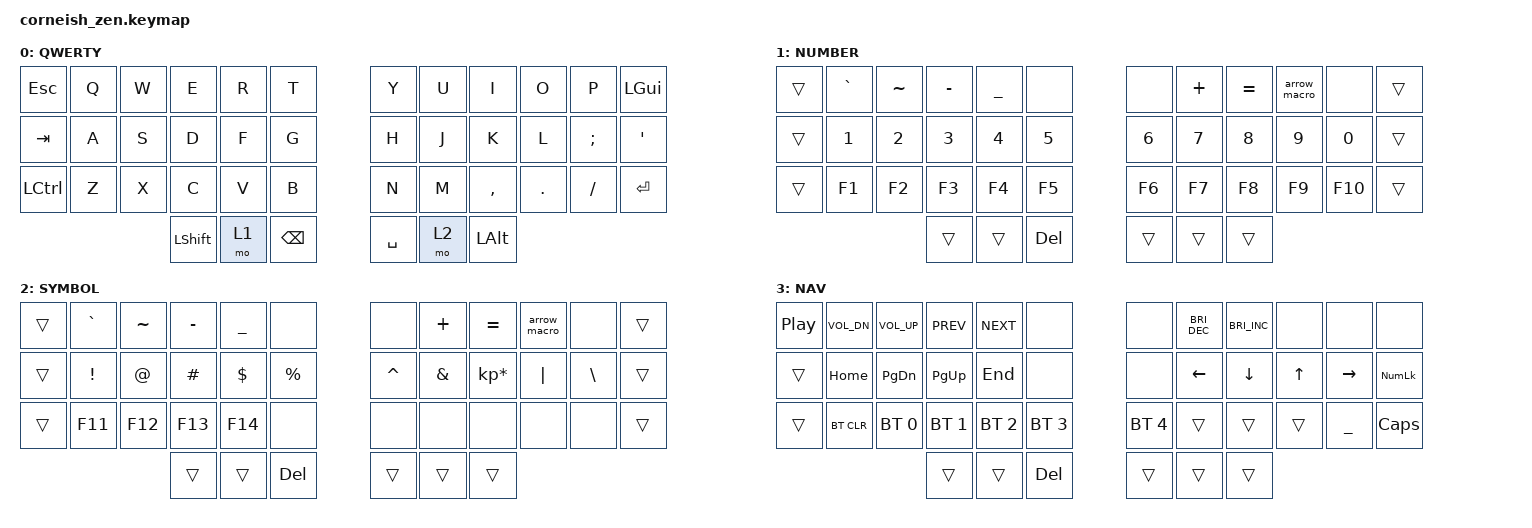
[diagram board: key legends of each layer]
#include <behaviors.dtsi>
#include <dt-bindings/zmk/keys.h>
#include <dt-bindings/zmk/bt.h>

/ {
  chosen {
    zmk,matrix_transform = &default_transform;
  };
};

/ {
    combos {
        compatible = "zmk,combos";
        combo_brace_open {
            timeout-ms = <25>;
            key-positions = <3 4>;
            bindings = <&kp LEFT_BRACE>;
        };
		combo_brace_close {
            timeout-ms = <25>;
            key-positions = <7 8>;
            bindings = <&kp RIGHT_BRACE>;
        };
		combo_paren_open {
            timeout-ms = <25>;
            key-positions = <15 16>;
            bindings = <&kp LEFT_PARENTHESIS>;
        };
		combo_paren_close {
            timeout-ms = <25>;
            key-positions = <19 20>;
            bindings = <&kp RIGHT_PARENTHESIS>;
        };
		combo_bracket_open {
            timeout-ms = <25>;
            key-positions = <27 28>;
            bindings = <&kp LEFT_BRACKET>;
        };
		combo_bracket_close {
            timeout-ms = <25>;
            key-positions = <31 32>;
            bindings = <&kp RIGHT_BRACKET>;
        };
    };
};

/ {
    conditional_layers {
        compatible = "zmk,conditional-layers";
        tri_layer {
            if-layers = <1 2>;
            then-layer = <3>;
        };
    };
};

/ {
    macros {
		arrow_macro: arrow_macro {
            label = "arrow_macro";
            compatible = "zmk,behavior-macro";
            #binding-cells = <0>;
            bindings
                = <&macro_tap &kp EQUAL>
                , <&macro_tap &kp GREATER_THAN>
                ;
        };
    };
};

/ {
        keymap {
                compatible = "zmk,keymap";

                default_layer {
                        label = "QWERTY";
// -----------------------------------------------------------------------------------------
// | ESC   |  Q  |  W  |  E  |  R  |  T  |   |  Y  |  U   |  I  |  O  |  P  | LGUI |
// | TAB   |  A  |  S  |  D  |  F  |  G  |   |  H  |  J   |  K  |  L  |  ;  |  '   |
// | LCTRL |  Z  |  X  |  C  |  V  |  B  |   |  N  |  M   |  ,  |  .  |  /  | ENT  |
//                  | LSHFT | LWR | BSPC |   | SPACE | RSE  | ALT |
                        bindings = <
   &kp ESC   &kp Q &kp W &kp E &kp R &kp T   &kp Y &kp U  &kp I     &kp O   &kp P    &kp LGUI
   &kp TAB	 &kp A &kp S &kp D &kp F &kp G   &kp H &kp J  &kp K     &kp L   &kp SEMI &kp SQT
   &kp LCTRL &kp Z &kp X &kp C &kp V &kp B   &kp N &kp M  &kp COMMA &kp DOT &kp FSLH &kp RET
                  &kp LSHFT &mo 1 &kp BSPC   &kp SPACE &mo 2 &kp LALT
                        >;
                };
                lower_layer {
                        label = "NUMBER";
// --------------------------------------------------------------------------------------------
// |      | GRAVE | TILDE | MINUS | UNDER |     |   |      | PLUS | EQUAL | => |     |      |
// |      |  1    |  2    |  3    |  4    |  5  |   |  6   |  7    |  8  |  9  |  0  |      |
// | SHFT | F1    | F2    | F3    | F4    | F5  |   | F6   | F7    | F8  | F9  | F10 |      |
//                            |     |     | DLT |   |    |     |    |
                        bindings = <
   &trans &kp GRAVE    &kp TILDE    &kp MINUS    &kp UNDER 	  &none		     &none	  &kp PLUS &kp EQUAL &arrow_macro	   &none   &trans
   &trans &kp N1       &kp N2       &kp N3       &kp N4       &kp N5         &kp N6   &kp N7   &kp N8 	 &kp N9    &kp N0  &trans
   &trans &kp F1       &kp F2       &kp F3       &kp F4       &kp F5         &kp F6   &kp F7   &kp F8 	 &kp F9    &kp F10 &trans
                          	        &trans       &trans       &kp DELETE     &trans   &trans   &trans
                        >;
                };

                raise_layer {
                        label = "SYMBOL";
// -----------------------------------------------------------------------------------------
// |      | GRAVE | TILDE | MINUS | UNDER |     |   |      | PLUS | EQUAL |     |     |     |
// |      |  !    |  @    |  #    |  $    |  %  |   |  ^   |  &   |  *    | "|" |  \  |     |
// |      | F11   | F12   | F13   | F14   |     |   |      |      |       |     |     |     |
//                            |     |     | DLT |   |    |     |    |
                        bindings = <
   &trans &kp GRAVE  &kp TILDE  &kp MINUS  &kp UNDER  &none		  &none	     &kp PLUS   &kp EQUAL         &arrow_macro   &none          &trans
   &trans &kp EXCL   &kp AT     &kp HASH   &kp DLLR   &kp PRCNT   &kp CARET  &kp AMPS   &kp KP_MULTIPLY   &kp PIPE       &kp BACKSLASH  &trans
   &trans &kp F11	 &kp F12    &kp F13    &kp F14    &none       &none      &none      &none             &none          &none          &trans
                          	&trans       &trans       &kp DELETE     &trans   &trans   &trans
                        >;
                };


				tri_layer {
                        label = "NAV";
// -----------------------------------------------------------------------------------------
// |  PLYPS |  vol-  |  vol+  |  prev  |  next |     | |     | brght-  |  brght+  |      |        |       | 
// |        |  home  |  pgdn  |  pgup  |  end  |     | |     |  left   |  down    |  up  |  right | nmlk  |
// |        | BTCLR  |  BT1   |  BT2   |  BT3  | BT4 | | BT5 |         |          |      |        | cpslk |
//                            	   |     |     | DLT | |    |     |    |
                        bindings = <
   &kp  C_PP  &kp C_VOL_DN    &kp C_VOL_UP  &kp C_PREV   &kp C_NEXT   &none         &none         &kp C_BRIGHTNESS_DEC &kp C_BRIGHTNESS_INC &none   &none 	   &none
   &trans     &kp HOME     	  &kp PG_DN     &kp PG_UP    &kp END      &none         &none         &kp LEFT 		    &kp DOWN             &kp UP  &kp RIGHT &kp KP_NUMLOCK
   &trans     &bt BT_CLR      &bt BT_SEL 0  &bt BT_SEL 1 &bt BT_SEL 2 &bt BT_SEL 3  &bt BT_SEL 4  &trans   			&trans   			 &trans  &kp UNDER &kp CAPS
                          				&trans       &trans       &kp DELETE     &trans   &trans   &trans
                        >;
                };
        };
};
